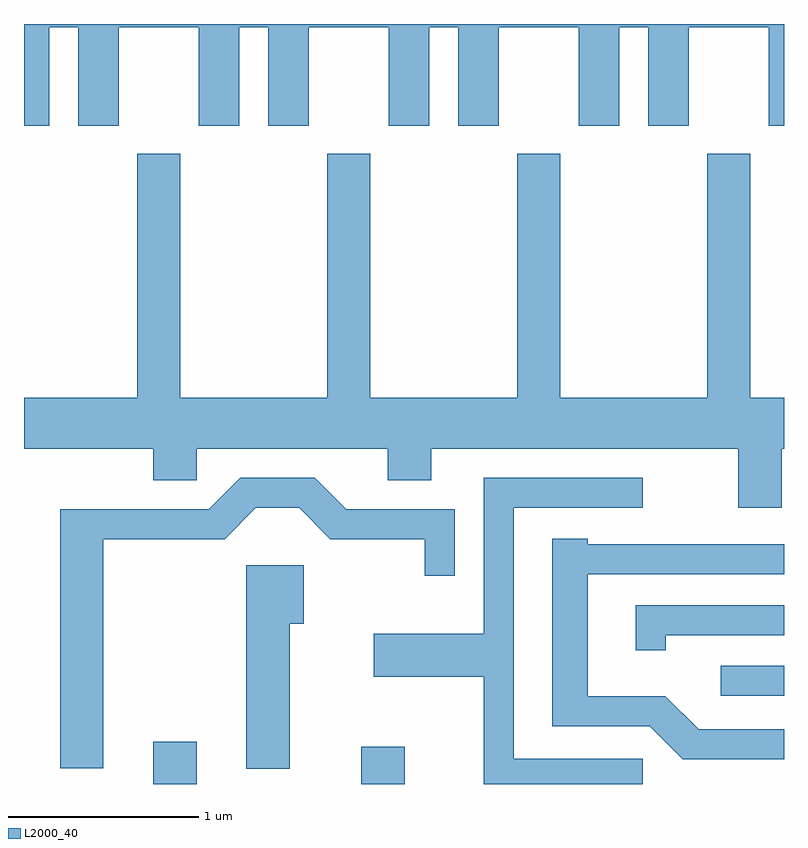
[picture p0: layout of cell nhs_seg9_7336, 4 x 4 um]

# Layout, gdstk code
import gdstk
lib = gdstk.Library(unit=1e-6, precision=1e-09)
def R(c, l, rs):  # rectangles x0, y0, x1, y1
    for r in rs: c.add(gdstk.rectangle(r[:2], r[2:], *l))
def P(c, l, *ps):  # polygons
    for p in ps: c.add(gdstk.Polygon(p, *l))
L2000_40 = (2000, 40)

nhs_seg9_7336 = lib.new_cell('nhs_seg9_7336')
R(nhs_seg9_7336, L2000_40, [(402.291,2054.432,402.519,2054.654), (403.386,2054.432,403.614,2054.629), (405.278,2054.896,405.611,2055.054)])
P(nhs_seg9_7336, L2000_40, [(401.611,2057.896),(401.744,2057.896),(401.744,2058.416),(401.896,2058.416),(401.896,2057.896),(402.109,2057.896),(402.109,2058.416),(402.531,2058.416),(402.531,2057.896),(402.744,2057.896),(402.744,2058.416),(402.896,2058.416),(402.896,2057.896),(403.109,2057.896),(403.109,2058.416),(403.531,2058.416),(403.531,2057.896),(403.744,2057.896),(403.744,2058.416),(403.896,2058.416),(403.896,2057.896),(404.109,2057.896),(404.109,2058.416),(404.531,2058.416),(404.531,2057.896),(404.744,2057.896),(404.744,2058.416),(404.896,2058.416),(404.896,2057.896),(405.109,2057.896),(405.109,2058.416),(405.531,2058.416),(405.531,2057.896),(405.611,2057.896),(405.611,2058.432),(401.611,2058.432)],
  [(405.599,2056.196),(405.611,2056.196),(405.611,2056.464),(405.434,2056.464),(405.434,2057.749),(405.206,2057.749),(405.206,2056.464),(404.434,2056.464),(404.434,2057.749),(404.206,2057.749),(404.206,2056.464),(403.434,2056.464),(403.434,2057.749),(403.206,2057.749),(403.206,2056.464),(402.434,2056.464),(402.434,2057.749),(402.206,2057.749),(402.206,2056.464),(401.611,2056.464),(401.611,2056.196),(402.291,2056.196),(402.291,2056.031),(402.519,2056.031),(402.519,2056.196),(403.526,2056.196),(403.526,2056.031),(403.754,2056.031),(403.754,2056.196),(405.371,2056.196),(405.371,2055.886),(405.599,2055.886)],
  [(404.868,2054.564),(404.189,2054.564),(404.189,2055.886),(404.868,2055.886),(404.868,2056.044),(404.031,2056.044),(404.031,2055.224),(403.451,2055.224),(403.451,2054.996),(404.031,2054.996),(404.031,2054.432),(404.868,2054.432)],
  [(402.029,2055.721),(402.667,2055.721),(402.832,2055.886),(403.059,2055.886),(403.224,2055.721),(403.721,2055.721),(403.721,2055.528),(403.879,2055.528),(403.879,2055.879),(403.307,2055.879),(403.142,2056.044),(402.749,2056.044),(402.584,2055.879),(401.801,2055.879),(401.801,2054.516),(402.029,2054.516)],
  [(405.611,2054.719),(405.162,2054.719),(404.987,2054.894),(404.579,2054.894),(404.579,2055.536),(405.611,2055.536),(405.611,2055.694),(404.579,2055.694),(404.579,2055.724),(404.391,2055.724),(404.391,2054.736),(404.904,2054.736),(405.079,2054.561),(405.611,2054.561)],
  [(403.009,2055.276),(403.084,2055.276),(403.084,2055.584),(402.781,2055.584),(402.781,2054.511),(403.009,2054.511)],
  [(404.989,2055.216),(405.611,2055.216),(405.611,2055.374),(404.831,2055.374),(404.831,2055.137),(404.989,2055.137)])

lib.write_gds('nhs_seg9_7336.gds')
